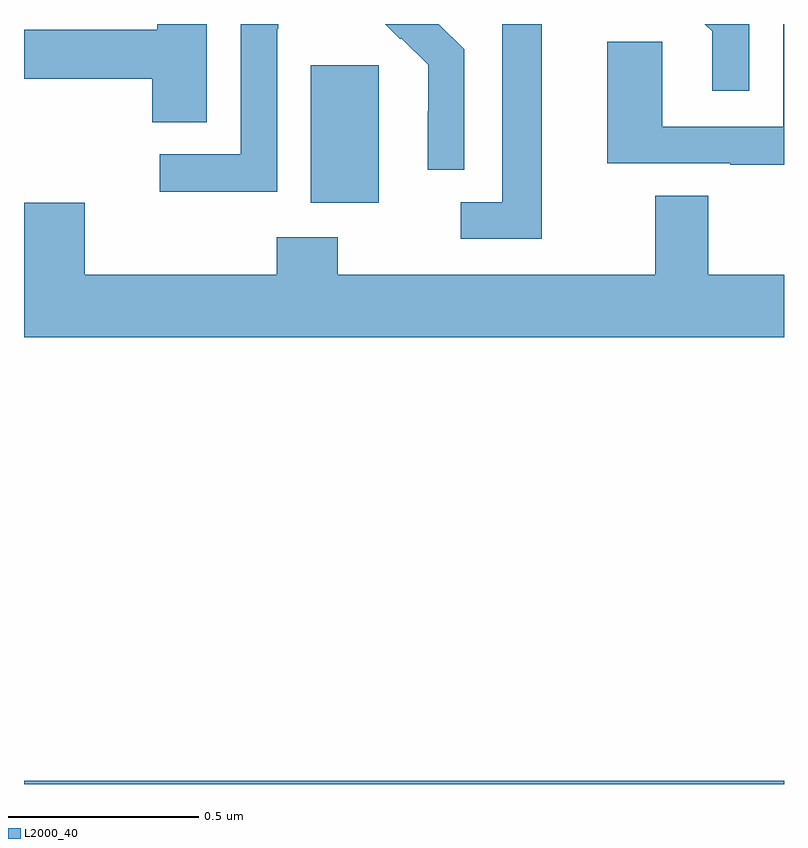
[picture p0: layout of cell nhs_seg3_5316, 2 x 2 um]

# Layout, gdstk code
import gdstk
lib = gdstk.Library(unit=1e-6, precision=1e-09)
def R(c, l, rs):  # rectangles x0, y0, x1, y1
    for r in rs: c.add(gdstk.rectangle(r[:2], r[2:], *l))
def P(c, l, *ps):  # polygons
    for p in ps: c.add(gdstk.Polygon(p, *l))
L2000_40 = (2000, 40)

nhs_seg3_5316 = lib.new_cell('nhs_seg3_5316')
R(nhs_seg3_5316, L2000_40, [(177,706.4,179,706.408), (177.755,707.93,177.934,708.291)])
P(nhs_seg3_5316, L2000_40, [(179,708.4),(178.998,708.4),(178.998,708.129),(178.68,708.129),(178.68,708.353),(178.535,708.353),(178.535,708.033),(178.859,708.033),(178.859,708.029),(179,708.029)],
  [(177.481,708.4),(177.35,708.4),(177.35,708.385),(177,708.385),(177,708.256),(177.338,708.256),(177.338,708.142),(177.481,708.142)],
  [(177.666,708.388),(177.669,708.388),(177.669,708.4),(177.57,708.4),(177.57,708.057),(177.357,708.057),(177.357,707.959),(177.666,707.959)],
  [(178.158,708.334),(178.092,708.4),(177.95,708.4),(177.99,708.36),(177.993,708.363),(178.064,708.293),(178.064,708.17),(178.062,708.17),(178.062,708.016),(178.158,708.016)],
  [(178.363,708.4),(178.259,708.4),(178.259,707.931),(178.149,707.931),(178.149,707.835),(178.363,707.835)],
  [(178.908,708.4),(178.792,708.4),(178.811,708.381),(178.811,708.225),(178.908,708.225)],
  [(179,707.74),(178.801,707.74),(178.801,707.948),(178.661,707.948),(178.661,707.74),(177.825,707.74),(177.825,707.839),(177.665,707.839),(177.665,707.74),(177.16,707.74),(177.16,707.929),(177,707.929),(177,707.576),(179,707.576)])

lib.write_gds('nhs_seg3_5316.gds')
